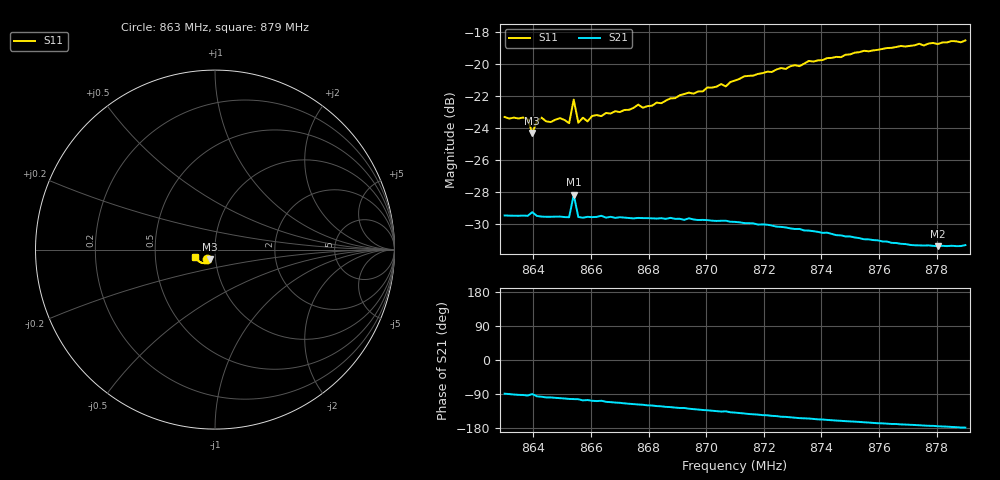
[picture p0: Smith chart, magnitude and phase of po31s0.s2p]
# HZ S RI R 50
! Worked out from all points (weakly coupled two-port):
!   101 points, 863 MHz to 879 MHz, reference 50 ohm
!   highest |S21| = -28.16 dB at 865.4 MHz (marker M1); lowest = -31.4 dB at 878.04 MHz (marker M2)
!   lowest |S11| = -24.3 dB at 863.96 MHz (marker M3), VSWR 1.13, Z = 46.9 - j5.01 ohm
!   |S11| at or under -10 dB: start of sweep to end of sweep
!   S12 and S22 are empty: the file has one direction only
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8.63e8  -0.0427 -0.0533  0.000662 -0.0337  0 0  0 0
8.638e8  -0.0395 -0.0546  -0.00222 -0.0335  0 0  0 0
8.6396e8  -0.0297 -0.0532  9.6e-05 -0.0345  0 0  0 0
8.6412e8  -0.0366 -0.055  -0.00344 -0.0334  0 0  0 0
8.6428e8  -0.0385 -0.0561  -0.00404 -0.0332  0 0  0 0
8.646e8  -0.0347 -0.056  -0.00511 -0.033  0 0  0 0
8.6492e8  -0.0371 -0.0567  -0.00621 -0.0328  0 0  0 0
8.6524e8  -0.0338 -0.0559  -0.00733 -0.0324  0 0  0 0
8.654e8  -0.0319 -0.0705  -0.00887 -0.038  0 0  0 0
8.6556e8  -0.0328 -0.0568  -0.00777 -0.0324  0 0  0 0
8.6572e8  -0.0335 -0.0591  -0.00945 -0.0318  0 0  0 0
8.6588e8  -0.0331 -0.0573  -0.00902 -0.0321  0 0  0 0
8.6604e8  -0.0354 -0.059  -0.01 -0.0317  0 0  0 0
8.6764e8  -0.036 -0.0654  -0.0153 -0.0294  0 0  0 0
8.6844e8  -0.0356 -0.0665  -0.0176 -0.0279  0 0  0 0
8.7004e8  -0.0429 -0.0728  -0.0221 -0.0239  0 0  0 0
8.7068e8  -0.0437 -0.073  -0.0231 -0.0228  0 0  0 0
8.71e8  -0.0478 -0.0748  -0.0242 -0.0212  0 0  0 0
8.7372e8  -0.0687 -0.0751  -0.0274 -0.0125  0 0  0 0
8.7644e8  -0.0937 -0.0619  -0.0271 -0.00534  0 0  0 0
8.7804e8  -0.1046 -0.0484  -0.0269 -0.00242  0 0  0 0
8.79e8  -0.1116 -0.0394  -0.0272 -0.000759  0 0  0 0
